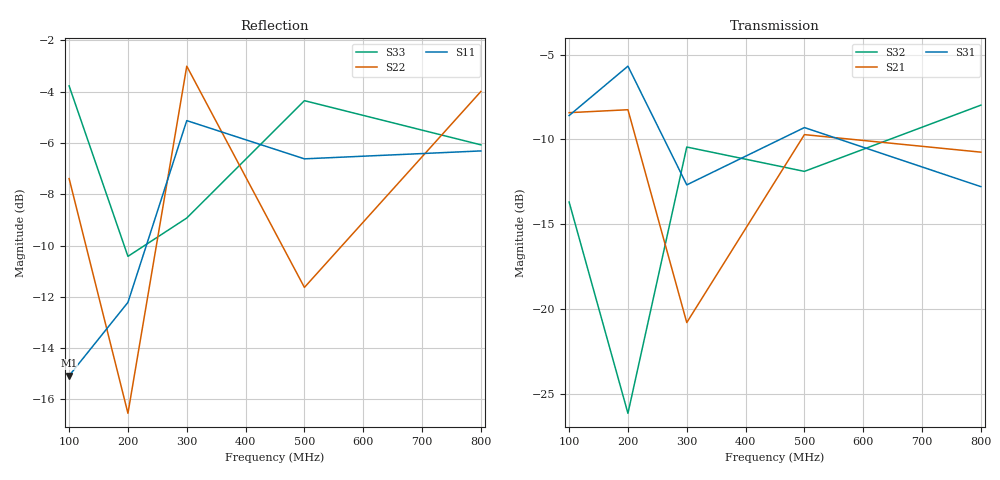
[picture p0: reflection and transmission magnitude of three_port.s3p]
# Hz Z RI R 75
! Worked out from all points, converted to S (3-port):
!   5 points, 100 MHz to 800 MHz, reference 75 ohm
!   strongest paths, dB at 100 MHz, 200 MHz, 300 MHz, 500 MHz, 800 MHz:
!     S31: -8.6, -5.7, -12.7, -9.3, -12.8
!     S21: -8.4, -8.3, -20.8, -9.7, -10.8
!     S32: -13.7, -26.2, -10.5, -11.9, -8.0
!   lowest |S11| = -15.1 dB at 100 MHz (marker M1), VSWR 1.43, Z = 105 + j10 ohm
!   |S11| at or under -10 dB: start of sweep to 231.3 MHz
1e8  1.799 -0.5057  -0.2794 0.5908  0.9612 -0.8582
     -0.2794 0.5908  0.4131 -0.6718  0.0932 -0.1076
     0.9612 -0.8582  0.0932 -0.1076  0.9846 -2.23
2e8  0.7811 -1.208  0.3801 0.9237  0.5499 -1.525
     0.3801 0.9237  0.7277 -0.1956  0.5094 0.475
     0.5499 -1.525  0.5094 0.475  1.512 -1.322
3e8  1.131 -1.385  0.0328 -0.1857  0.444 -0.0803
     0.0328 -0.1857  0.2687 0.7985  -0.2747 -0.2422
     0.444 -0.0803  -0.2747 -0.2422  0.702 -0.2883
5e8  0.6091 -1.691  -0.1587 0.9258  -0.0402 -1.021
     -0.1587 0.9258  0.792 -0.7296  -0.2709 0.2246
     -0.0402 -1.021  -0.2709 0.2246  0.4642 -1.438
8e8  0.4602 -0.7787  0.2064 -0.251  -0.0502 0.2939
     0.2064 -0.251  0.272 0.803  -0.0942 0.5278
     -0.0502 0.2939  -0.0942 0.5278  0.2882 0.5749
